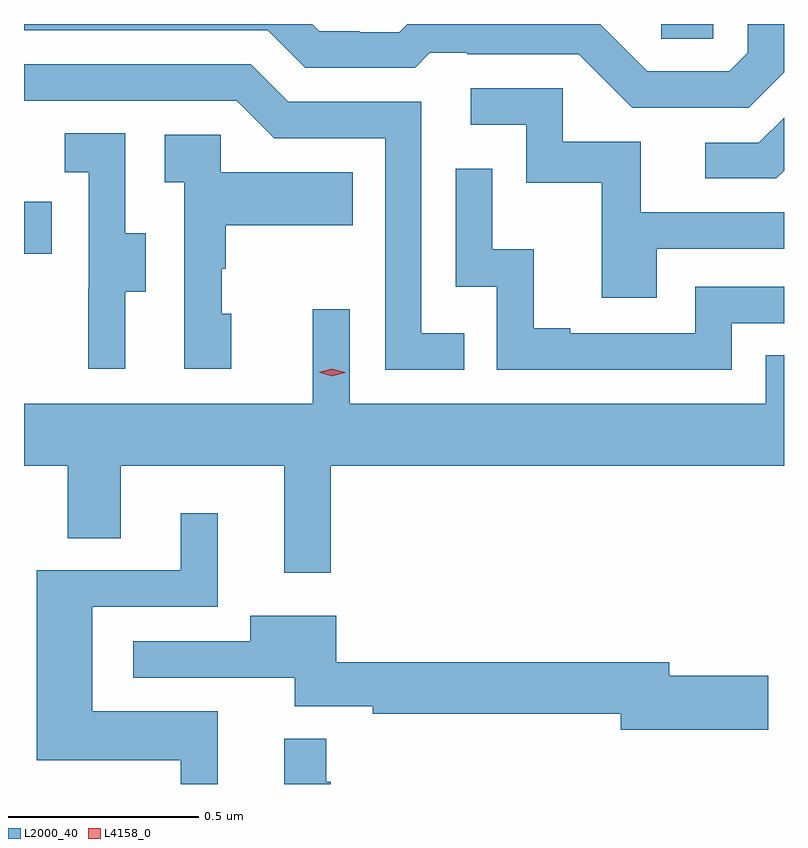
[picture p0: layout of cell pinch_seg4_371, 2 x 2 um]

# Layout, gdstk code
import gdstk
lib = gdstk.Library(unit=1e-6, precision=1e-09)
def R(c, l, rs):  # rectangles x0, y0, x1, y1
    for r in rs: c.add(gdstk.rectangle(r[:2], r[2:], *l))
def P(c, l, *ps):  # polygons
    for p in ps: c.add(gdstk.Polygon(p, *l))
L2000_40 = (2000, 40)
L4158_0 = (4158, 0)

pinch_seg4_371 = lib.new_cell('pinch_seg4_371')
R(pinch_seg4_371, L2000_40, [(963.64,796.046,963.713,796.183), (965.317,796.612,965.454,796.651)])
P(pinch_seg4_371, L2000_40, [(965.64,796.524),(965.64,796.651),(965.544,796.651),(965.544,796.575),(965.496,796.527),(965.28,796.527),(965.156,796.651),(964.648,796.651),(964.627,796.629),(964.524,796.629),(964.524,796.632),(964.417,796.632),(964.398,796.651),(963.64,796.651),(963.64,796.635),(964.281,796.635),(964.38,796.536),(964.669,796.536),(964.708,796.575),(964.807,796.575),(964.807,796.572),(965.1,796.572),(965.241,796.431),(965.547,796.431)],
  [(964.799,795.837),(964.686,795.837),(964.686,796.446),(964.336,796.446),(964.237,796.545),(963.64,796.545),(963.64,796.449),(964.2,796.449),(964.299,796.35),(964.59,796.35),(964.59,795.741),(964.799,795.741)],
  [(965.305,796.059),(965.64,796.059),(965.64,796.155),(965.263,796.155),(965.263,796.341),(965.058,796.341),(965.058,796.482),(964.815,796.482),(964.815,796.386),(964.962,796.386),(964.962,796.233),(965.161,796.233),(965.161,795.93),(965.305,795.93)],
  [(965.64,796.265),(965.64,796.404),(965.574,796.338),(965.433,796.338),(965.433,796.245),(965.62,796.245)],
  [(963.907,795.946),(963.961,795.946),(963.961,796.101),(963.906,796.101),(963.906,796.364),(963.747,796.364),(963.747,796.261),(963.81,796.261),(963.81,795.957),(963.809,795.957),(963.809,795.744),(963.907,795.744)],
  [(964.186,795.888),(964.161,795.888),(964.161,796.007),(964.171,796.007),(964.171,796.121),(964.505,796.121),(964.505,796.261),(964.158,796.261),(964.158,796.359),(964.011,796.359),(964.011,796.235),(964.062,796.235),(964.062,795.744),(964.186,795.744)],
  [(965.502,795.864),(965.64,795.864),(965.64,795.96),(965.406,795.96),(965.406,795.837),(965.077,795.837),(965.077,795.85),(964.982,795.85),(964.982,796.058),(964.872,796.058),(964.872,796.27),(964.776,796.27),(964.776,795.96),(964.884,795.96),(964.884,795.741),(965.502,795.741)],
  [(964.447,795.488),(965.64,795.488),(965.64,795.779),(965.592,795.779),(965.592,795.652),(964.497,795.652),(964.497,795.901),(964.4,795.901),(964.4,795.652),(963.64,795.652),(963.64,795.488),(963.755,795.488),(963.755,795.298),(963.895,795.298),(963.895,795.488),(964.325,795.488),(964.325,795.207),(964.447,795.207)],
  [(964.15,794.842),(963.82,794.842),(963.82,795.117),(964.15,795.117),(964.15,795.364),(964.052,795.364),(964.052,795.213),(963.674,795.213),(963.674,794.714),(964.052,794.714),(964.052,794.651),(964.15,794.651)],
  [(965.599,794.936),(965.338,794.936),(965.338,794.972),(964.462,794.972),(964.462,795.094),(964.235,795.094),(964.235,795.027),(963.927,795.027),(963.927,794.931),(964.352,794.931),(964.352,794.856),(964.558,794.856),(964.558,794.836),(965.21,794.836),(965.21,794.794),(965.599,794.794)],
  [(964.447,794.657),(964.436,794.657),(964.436,794.77),(964.325,794.77),(964.325,794.651),(964.447,794.651)])
P(pinch_seg4_371, L4158_0, [(964.45,795.724),(964.415,795.734),(964.414,795.734),(964.415,795.734),(964.45,795.744),(964.485,795.734),(964.485,795.734),(964.485,795.733)])

lib.write_gds('pinch_seg4_371.gds')
